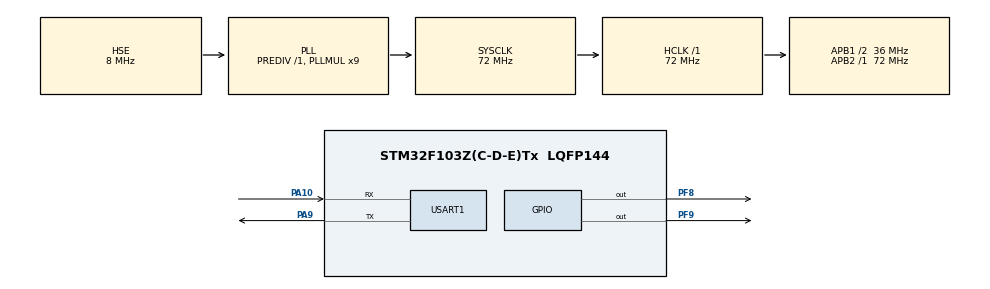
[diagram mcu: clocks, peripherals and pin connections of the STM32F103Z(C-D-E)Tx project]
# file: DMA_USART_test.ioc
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Dma.Request0=USART1_RX
Dma.Request1=USART1_TX
Dma.USART1_RX.0.Direction=DMA_PERIPH_TO_MEMORY
Dma.USART1_RX.0.Instance=DMA1_Channel5
Dma.USART1_RX.0.MemDataAlignment=DMA_MDATAALIGN_BYTE
Dma.USART1_RX.0.MemInc=DMA_MINC_ENABLE
Dma.USART1_RX.0.Mode=DMA_NORMAL
Dma.USART1_RX.0.PeriphDataAlignment=DMA_PDATAALIGN_BYTE
Dma.USART1_RX.0.PeriphInc=DMA_PINC_DISABLE
Dma.USART1_RX.0.Priority=DMA_PRIORITY_LOW
Dma.USART1_TX.1.Direction=DMA_MEMORY_TO_PERIPH
Dma.USART1_TX.1.Instance=DMA1_Channel4
Dma.USART1_TX.1.MemDataAlignment=DMA_MDATAALIGN_BYTE
Dma.USART1_TX.1.MemInc=DMA_MINC_ENABLE
Dma.USART1_TX.1.Mode=DMA_NORMAL
Dma.USART1_TX.1.PeriphDataAlignment=DMA_PDATAALIGN_BYTE
Dma.USART1_TX.1.PeriphInc=DMA_PINC_DISABLE
Dma.USART1_TX.1.Priority=DMA_PRIORITY_LOW
Mcu.Family=STM32F1
Mcu.Name=STM32F103Z(C-D-E)Tx
Mcu.Package=LQFP144
NVIC.DMA1_Channel4_IRQn=true\:0\:0\:false\:false\:true\:false\:true\:true
NVIC.DMA1_Channel5_IRQn=true\:10\:0\:true\:false\:true\:false\:true\:true
NVIC.PriorityGroup=NVIC_PRIORITYGROUP_4
NVIC.USART1_IRQn=true\:0\:0\:false\:false\:true\:false\:true\:true
OSC_IN.Mode=HSE-External-Oscillator
OSC_IN.Signal=RCC_OSC_IN
OSC_OUT.Mode=HSE-External-Oscillator
OSC_OUT.Signal=RCC_OSC_OUT
PA10.Mode=Asynchronous
PA10.Signal=USART1_RX
PA13.Mode=Serial_Wire
PA13.Signal=SYS_JTMS-SWDIO
PA14.Mode=Serial_Wire
PA14.Signal=SYS_JTCK-SWCLK
PA9.Mode=Asynchronous
PA9.Signal=USART1_TX
PF8.Signal=GPIO_Output
PF9.Signal=GPIO_Output
ProjectManager.HeapSize=0x200
ProjectManager.StackSize=0x400
ProjectManager.TargetToolchain=MDK-ARM V5.32
RCC.AHBFreq_Value=72000000
RCC.APB1CLKDivider=RCC_HCLK_DIV2
RCC.APB1Freq_Value=36000000
RCC.APB1TimFreq_Value=72000000
RCC.APB2Freq_Value=72000000
RCC.APB2TimFreq_Value=72000000
RCC.HCLKFreq_Value=72000000
RCC.PLLMUL=RCC_PLL_MUL9
RCC.PLLSourceVirtual=RCC_PLLSOURCE_HSE
RCC.SYSCLKFreq_VALUE=72000000
RCC.SYSCLKSource=RCC_SYSCLKSOURCE_PLLCLK
RCC.USBFreq_Value=72000000
USART1.Parity=PARITY_ODD
USART1.VirtualMode=VM_ASYNC
USART1.WordLength=WORDLENGTH_9B
board=custom

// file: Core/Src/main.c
/* USER CODE BEGIN Header */
/**
 ******************************************************************************
 * @file           : main.c
 * @brief          : Main program body
 ******************************************************************************
 * @attention
 *
 * Copyright (c) 2026 STMicroelectronics.
 * All rights reserved.
 *
 * This software is licensed under terms that can be found in the LICENSE file
 * in the root directory of this software component.
 * If no LICENSE file comes with this software, it is provided AS-IS.
 *
 ******************************************************************************
 */
/* USER CODE END Header */
#include "main.h"

/* USER CODE BEGIN Includes */
#include <stdio.h>
#include <string.h>
#include <ctype.h>
#include <stdbool.h>

/* USER CODE END Includes */

/* USER CODE BEGIN PTD */
// 状态
typedef enum
{
  USART_STATE_IDLE,
  USART_STATE_RXING,
  USART_STATE_DATA_READY,
  USART_STATE_TXING,
  USART_STATE_ERROR
} usart_state_t;
/* USER CODE END PTD */

/* USER CODE BEGIN PM */
#define BUFFER_SIZE 8
/* USER CODE END PM */

UART_HandleTypeDef huart1;
DMA_HandleTypeDef hdma_usart1_rx;
DMA_HandleTypeDef hdma_usart1_tx;

/* USER CODE BEGIN PV */
// uint8_t rx_buffer[BUFFER_SiZE];
// volatile bool is_data_received = false; // 数据默认没有准备好

// uint8_t tx_buffer[BUFFER_SiZE];
// volatile bool is_transmit_ready = true; // 默认可以发

uint8_t rx_buffer[BUFFER_SIZE];
uint8_t tx_buffer[BUFFER_SIZE];

volatile usart_state_t g_state = USART_STATE_IDLE;
/* USER CODE END PV */

void SystemClock_Config(void);
static void MX_GPIO_Init(void);
static void MX_DMA_Init(void);
static void MX_USART1_UART_Init(void);
/* USER CODE BEGIN PFP */
void TransformCase();
/* USER CODE END PFP */

int main(void)
{

  /* MCU Configuration--------------------------------------------------------*/

  /* Reset of all peripherals, Initializes the Flash interface and the Systick. */
  HAL_Init();

  /* Configure the system clock */
  SystemClock_Config();

  /* Initialize all configured peripherals */
  MX_GPIO_Init();
  MX_DMA_Init();
  MX_USART1_UART_Init();
  /* USER CODE BEGIN 2 */
  // HAL_Delay(1000);
  // HAL_GPIO_WritePin(GPIOF, GPIO_PIN_8, GPIO_PIN_SET); // 熄灭LED4
  // HAL_UART_Receive_DMA(&huart1, rx_buffer, BUFFER_SiZE); // 串口以DMA方式进行接收

  // 状态机后续代码
  const char *tips = "This is State Machine Test\n";
  HAL_UART_Transmit_DMA(&huart1, (const uint8_t *)tips, strlen(tips));
  HAL_Delay(1000);

  /* USER CODE END 2 */

  /* Infinite loop */
  /* USER CODE BEGIN WHILE */

  while (1)
  {
    switch (g_state)
    {
    case USART_STATE_IDLE:
      if (HAL_UART_Receive_DMA(&huart1, rx_buffer, BUFFER_SIZE) == HAL_OK)
      {
        g_state = USART_STATE_RXING;
      }
      else
      {
        g_state = USART_STATE_ERROR;
      }
      break;
    case USART_STATE_RXING:
      // 我们什么都不做！
      break;
    case USART_STATE_DATA_READY:
      // 逻辑处理
      TransformCase();
      HAL_GPIO_TogglePin(GPIOF, GPIO_PIN_8);
      if (HAL_UART_Transmit_DMA(&huart1, tx_buffer, BUFFER_SIZE) == HAL_OK)
      {
        g_state = USART_STATE_TXING;
      }
      else
      {
        g_state = USART_STATE_ERROR;
      }
      break;
    case USART_STATE_TXING:
      // 我们什么都不做！
      break;
    case USART_STATE_ERROR:
    {
      if(huart1.Instance->SR & UART_FLAG_ORE)
      {
        int cnt = 50;
        while(cnt--)
        {
          HAL_GPIO_TogglePin(GPIOF, GPIO_PIN_9);
          HAL_Delay(100);
        }
      }
      HAL_UART_DMAStop(&huart1);
      __HAL_UART_CLEAR_OREFLAG(&huart1); // 手动清除溢出标志位，否则usart无法立即重启
      HAL_Delay(300);                    // 给时间，让设置生效
      g_state = USART_STATE_IDLE;
    }
    break;
    }

    // if(is_data_received && is_transmit_ready)
    // {
    //   // 0. 翻转LED
    //   HAL_GPIO_TogglePin(GPIOF, GPIO_PIN_8);

    //   // 1. 收到的数据进行处理
    //   TransformCase();

    //   // 2. 重置标志位
    //   is_data_received = false;

    //   // 3. 开启重新接收
    //   // HAL_UART_Receive_DMA(&huart1, rx_buffer, BUFFER_SiZE);

    //   // 4. 开启发送
    //   HAL_UART_Transmit_DMA(&huart1, tx_buffer, BUFFER_SiZE);
    //   is_transmit_ready = false;
    // }
    /* USER CODE END WHILE */

  }
}

void SystemClock_Config(void)
{
  RCC_OscInitTypeDef RCC_OscInitStruct = {0};
  RCC_ClkInitTypeDef RCC_ClkInitStruct = {0};

  /** Initializes the RCC Oscillators according to the specified parameters
  * in the RCC_OscInitTypeDef structure.
  */
  RCC_OscInitStruct.OscillatorType = RCC_OSCILLATORTYPE_HSE;
  RCC_OscInitStruct.HSEState = RCC_HSE_ON;
  RCC_OscInitStruct.HSEPredivValue = RCC_HSE_PREDIV_DIV1;
  RCC_OscInitStruct.HSIState = RCC_HSI_ON;
  RCC_OscInitStruct.PLL.PLLState = RCC_PLL_ON;
  RCC_OscInitStruct.PLL.PLLSource = RCC_PLLSOURCE_HSE;
  RCC_OscInitStruct.PLL.PLLMUL = RCC_PLL_MUL9;
  if (HAL_RCC_OscConfig(&RCC_OscInitStruct) != HAL_OK)
  {
    Error_Handler();
  }

  /** Initializes the CPU, AHB and APB buses clocks
  */
  RCC_ClkInitStruct.ClockType = RCC_CLOCKTYPE_HCLK|RCC_CLOCKTYPE_SYSCLK
                              |RCC_CLOCKTYPE_PCLK1|RCC_CLOCKTYPE_PCLK2;
  RCC_ClkInitStruct.SYSCLKSource = RCC_SYSCLKSOURCE_PLLCLK;
  RCC_ClkInitStruct.AHBCLKDivider = RCC_SYSCLK_DIV1;
  RCC_ClkInitStruct.APB1CLKDivider = RCC_HCLK_DIV2;
  RCC_ClkInitStruct.APB2CLKDivider = RCC_HCLK_DIV1;

  if (HAL_RCC_ClockConfig(&RCC_ClkInitStruct, FLASH_LATENCY_2) != HAL_OK)
  {
    Error_Handler();
  }
}

static void MX_USART1_UART_Init(void)
{

  huart1.Instance = USART1;
  huart1.Init.BaudRate = 115200;
  huart1.Init.WordLength = UART_WORDLENGTH_9B;
  huart1.Init.StopBits = UART_STOPBITS_1;
  huart1.Init.Parity = UART_PARITY_ODD;
  huart1.Init.Mode = UART_MODE_TX_RX;
  huart1.Init.HwFlowCtl = UART_HWCONTROL_NONE;
  huart1.Init.OverSampling = UART_OVERSAMPLING_16;
  if (HAL_UART_Init(&huart1) != HAL_OK)
  {
    Error_Handler();
  }

}

static void MX_DMA_Init(void)
{

  /* DMA controller clock enable */
  __HAL_RCC_DMA1_CLK_ENABLE();

  /* DMA interrupt init */
  /* DMA1_Channel4_IRQn interrupt configuration */
  HAL_NVIC_SetPriority(DMA1_Channel4_IRQn, 0, 0);
  HAL_NVIC_EnableIRQ(DMA1_Channel4_IRQn);
  /* DMA1_Channel5_IRQn interrupt configuration */
  HAL_NVIC_SetPriority(DMA1_Channel5_IRQn, 10, 0);
  HAL_NVIC_EnableIRQ(DMA1_Channel5_IRQn);

}

static void MX_GPIO_Init(void)
{
  GPIO_InitTypeDef GPIO_InitStruct = {0};

  /* GPIO Ports Clock Enable */
  __HAL_RCC_GPIOF_CLK_ENABLE();
  __HAL_RCC_GPIOA_CLK_ENABLE();

  /*Configure GPIO pin Output Level */
  HAL_GPIO_WritePin(GPIOF, GPIO_PIN_8|GPIO_PIN_9, GPIO_PIN_RESET);

  /*Configure GPIO pins : PF8 PF9 */
  GPIO_InitStruct.Pin = GPIO_PIN_8|GPIO_PIN_9;
  GPIO_InitStruct.Mode = GPIO_MODE_OUTPUT_PP;
  GPIO_InitStruct.Pull = GPIO_NOPULL;
  GPIO_InitStruct.Speed = GPIO_SPEED_FREQ_LOW;
  HAL_GPIO_Init(GPIOF, &GPIO_InitStruct);

}

/* USER CODE BEGIN 4 */

// 走到这里数据搬迁完毕了吗？？完了！！
// void HAL_UART_RxCpltCallback(UART_HandleTypeDef *huart)
// {
//   if(huart->Instance == USART1)
//   {
//     is_data_received = true;
//   }
// }

// // 走到这里数据搬迁完毕了吗？？完了！！
// void HAL_UART_TxCpltCallback(UART_HandleTypeDef *huart)
// {
//   if(huart->Instance == USART1)
//   {
//     is_transmit_ready = true;
//   }
// }

void HAL_UART_RxCpltCallback(UART_HandleTypeDef *huart)
{
  if (huart->Instance == USART1)
  {
    g_state = USART_STATE_DATA_READY;
  }
}

void HAL_UART_TxCpltCallback(UART_HandleTypeDef *huart)
{
  if (huart->Instance == USART1)
  {
    g_state = USART_STATE_IDLE;
  }
}

void HAL_UART_ErrorCallback(UART_HandleTypeDef *huart)
{
  if (huart->Instance == USART1)
  {
    g_state = USART_STATE_ERROR;
  }
}

void TransformCase()
{
  for (int i = 0; i < BUFFER_SIZE; i++)
  {
    char c = rx_buffer[i];
    if (isupper(c))
    {
      tx_buffer[i] = tolower(c);
    }
    else if (islower(c))
    {
      tx_buffer[i] = toupper(c);
    }
    else
    {
      tx_buffer[i] = c;
    }
  }
}

/* USER CODE END 4 */

void Error_Handler(void)
{
  __disable_irq();
  while (1)
  {
  }
}
